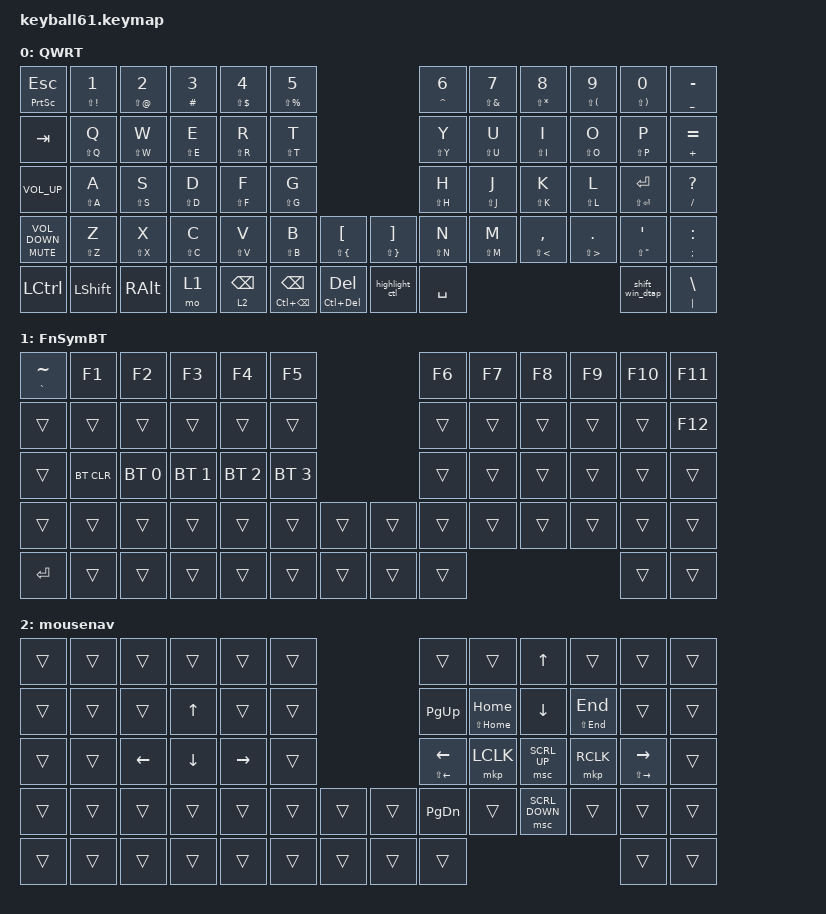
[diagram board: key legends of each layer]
#define DEFAULT 0
#define SYM     1
#define FUN     2
#define MOUSE   3
#define SCROLL  4
#define SNIPE   5

#include <behaviors/mouse_keys.dtsi>
#include <dt-bindings/zmk/mouse.h>
#include <behaviors.dtsi>
#include <dt-bindings/zmk/bt.h>
#include <dt-bindings/zmk/keys.h>
#include <dt-bindings/zmk/pointing.h>

&lt {
    tapping-term-ms = <200>;
    flavor = "balanced";
};

&mt {
    tapping-term-ms = <200>;
    flavor = "tap-preferred";
    quick-tap-ms = <0>;
};

/ {
    behaviors {
        highlight_ctl: highlight_ctl {
            compatible = "zmk,behavior-tap-dance";
            label = "HIGHLIGHT_CTL";
            #binding-cells = <0>;
            bindings = <&mt LEFT_CONTROL LC(RA(NUMBER_2))>;
        };

        shift_win_dtap: shift_win_dtap {
            compatible = "zmk,behavior-tap-dance";
            label = "SHIFT_WIN_DTAP";
            #binding-cells = <0>;
            bindings = <&mt LEFT_SHIFT LEFT_SHIFT>, <&kp RIGHT_WIN>;
        };
    };

    keymap {
        compatible = "zmk,keymap";

        default_layer {
            label = "QWRT";
            bindings = <
&mt PRINTSCREEN ESCAPE    &mt LS(EXCLAMATION) NUMBER_1  &mt LS(AT_SIGN) NUMBER_2  &mt HASH NUMBER_3  &mt LS(DOLLAR) NUMBER_4  &mt LS(PERCENT) N5                                                                               &mt CARET N6  &mt LS(AMPERSAND) N7  &mt LS(ASTERISK) NUMBER_8  &mt LS(LEFT_PARENTHESIS) NUMBER_9  &mt LS(RIGHT_PARENTHESIS) NUMBER_0  &mt UNDERSCORE MINUS
&kp TAB                   &mt LS(Q) Q                   &mt LS(W) W               &mt LS(E) E        &mt LS(R) R              &mt LS(T) T                                                                                      &mt LS(Y) Y   &mt LS(U) U           &mt LS(I) I                &mt LS(O) O                        &mt LS(P) P                         &mt PLUS EQUAL
&kp C_VOLUME_UP           &mt LS(A) A                   &mt LS(S) S               &mt LS(D) D        &mt LS(F) F              &mt LS(G) G                                                                                      &mt LS(H) H   &mt LS(J) J           &mt LS(K) K                &mt LS(L) L                        &mt LS(RET) RET                     &mt SLASH QUESTION
&mt C_MUTE C_VOLUME_DOWN  &mt LS(Z) Z                   &mt LS(X) X               &mt LS(C) C        &mt LS(V) V              &mt LS(B) B                  &mt LS(LEFT_BRACE) LEFT_BRACKET  &mt LS(RIGHT_BRACE) RIGHT_BRACKET  &mt LS(N) N   &mt LS(M) M           &mt LS(LESS_THAN) COMMA    &mt LS(GREATER_THAN) PERIOD        &mt LS(DOUBLE_QUOTES) SQT           &mt SEMICOLON COLON
&kp LEFT_CONTROL          &kp LEFT_SHIFT                &kp RIGHT_ALT             &mo 1              &lt 2 BACKSPACE          &mt LC(BACKSPACE) BACKSPACE  &mt LC(DELETE) DELETE            &highlight_ctl                     &kp SPACE                                                                                         &shift_win_dtap                     &mt PIPE BACKSLASH
            >;
        };

        FnSymBT_layer {
            bindings = <
&mt GRAVE TILDE  &kp F1      &kp F2        &kp F3        &kp F4        &kp F5                        &kp F6  &kp F7  &kp F8  &kp F9  &kp F10  &kp F11
&trans           &trans      &trans        &trans        &trans        &trans                        &trans  &trans  &trans  &trans  &trans   &kp F12
&trans           &bt BT_CLR  &bt BT_SEL 0  &bt BT_SEL 1  &bt BT_SEL 2  &bt BT_SEL 3                  &trans  &trans  &trans  &trans  &trans   &trans
&trans           &trans      &trans        &trans        &trans        &trans        &trans  &trans  &trans  &trans  &trans  &trans  &trans   &trans
&kp ENTER        &trans      &trans        &trans        &trans        &trans        &trans  &trans  &trans                          &trans   &trans
            >;

            label = "FnSymBT";
        };

        mouse-layer {
            label = "mousenav";
            bindings = <
&trans  &trans  &trans          &trans          &trans     &trans                  &trans             &trans             &kp UP_ARROW    &trans           &trans               &trans
&trans  &trans  &trans          &kp UP_ARROW    &trans     &trans                  &kp PG_UP          &mt LS(HOME) HOME  &kp DOWN_ARROW  &mt LS(END) END  &trans               &trans
&trans  &trans  &kp LEFT_ARROW  &kp DOWN_ARROW  &kp RIGHT  &trans                  &mt LS(LEFT) LEFT  &mkp LCLK          &msc SCRL_UP    &mkp RCLK        &mt LS(RIGHT) RIGHT  &trans
&trans  &trans  &trans          &trans          &trans     &trans  &trans  &trans  &kp PAGE_DOWN      &trans             &msc SCRL_DOWN  &trans           &trans               &trans
&trans  &trans  &trans          &trans          &trans     &trans  &trans  &trans  &trans                                                                 &trans               &trans
            >;
        };
    };
};
